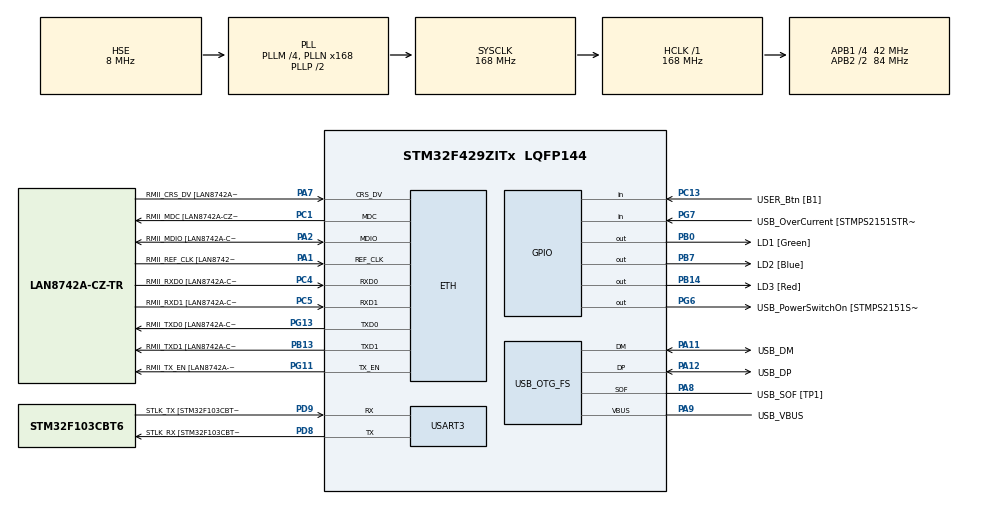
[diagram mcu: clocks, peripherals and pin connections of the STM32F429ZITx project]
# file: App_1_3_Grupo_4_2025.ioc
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ETH.MediaInterface=HAL_ETH_RMII_MODE
ETH.PHY_Name=LAN8742A_PHY_ADDRESS
ETH.PHY_Value=0
ETH.PhyAddress=0
Mcu.Family=STM32F4
Mcu.Name=STM32F429ZITx
Mcu.Package=LQFP144
NVIC.PriorityGroup=NVIC_PRIORITYGROUP_4
PA1.GPIO_Label=RMII_REF_CLK [LAN8742A-CZ-TR_REFCLK0]
PA1.Mode=RMII
PA1.Signal=ETH_REF_CLK
PA10.GPIO_Label=USB_ID
PA10.Signal=USB_OTG_FS_ID
PA11.GPIO_Label=USB_DM
PA11.Mode=Device_Only
PA11.Signal=USB_OTG_FS_DM
PA12.GPIO_Label=USB_DP
PA12.Mode=Device_Only
PA12.Signal=USB_OTG_FS_DP
PA13.GPIO_Label=TMS
PA13.Mode=Serial_Wire
PA13.Signal=SYS_JTMS-SWDIO
PA14.GPIO_Label=TCK
PA14.Mode=Serial_Wire
PA14.Signal=SYS_JTCK-SWCLK
PA2.GPIO_Label=RMII_MDIO [LAN8742A-CZ-TR_MDIO]
PA2.Mode=RMII
PA2.Signal=ETH_MDIO
PA7.GPIO_Label=RMII_CRS_DV [LAN8742A-CZ-TR_CRS_DV]
PA7.Mode=RMII
PA7.Signal=ETH_CRS_DV
PA8.GPIO_Label=USB_SOF [TP1]
PA8.Mode=Activate_SOF_FS
PA8.Signal=USB_OTG_FS_SOF
PA9.GPIO_Label=USB_VBUS
PA9.Mode=Activate_VBUS
PA9.Signal=USB_OTG_FS_VBUS
PB0.GPIO_Label=LD1 [Green]
PB0.Signal=GPIO_Output
PB13.GPIO_Label=RMII_TXD1 [LAN8742A-CZ-TR_TXD1]
PB13.Mode=RMII
PB13.Signal=ETH_TXD1
PB14.GPIO_Label=LD3 [Red]
PB14.Signal=GPIO_Output
PB7.GPIO_Label=LD2 [Blue]
PB7.Signal=GPIO_Output
PC1.GPIO_Label=RMII_MDC [LAN8742A-CZ-TR_MDC]
PC1.Mode=RMII
PC1.Signal=ETH_MDC
PC13.GPIO_Label=USER_Btn [B1]
PC13.GPIO_PuPd=GPIO_NOPULL
PC13.Signal=GPIO_Input
PC14/OSC32_IN.Mode=LSE-External-Oscillator
PC14/OSC32_IN.Signal=RCC_OSC32_IN
PC15/OSC32_OUT.Mode=LSE-External-Oscillator
PC15/OSC32_OUT.Signal=RCC_OSC32_OUT
PC4.GPIO_Label=RMII_RXD0 [LAN8742A-CZ-TR_RXD0]
PC4.Mode=RMII
PC4.Signal=ETH_RXD0
PC5.GPIO_Label=RMII_RXD1 [LAN8742A-CZ-TR_RXD1]
PC5.Mode=RMII
PC5.Signal=ETH_RXD1
PD8.GPIO_Label=STLK_RX [STM32F103CBT6_PA3]
PD8.Mode=Asynchronous
PD8.Signal=USART3_TX
PD9.GPIO_Label=STLK_TX [STM32F103CBT6_PA2]
PD9.Mode=Asynchronous
PD9.Signal=USART3_RX
PG11.GPIO_Label=RMII_TX_EN [LAN8742A-CZ-TR_TXEN]
PG11.Mode=RMII
PG11.Signal=ETH_TX_EN
PG13.GPIO_Label=RMII_TXD0 [LAN8742A-CZ-TR_TXD0]
PG13.Mode=RMII
PG13.Signal=ETH_TXD0
PG6.GPIO_Label=USB_PowerSwitchOn [STMPS2151STR_EN]
PG6.Signal=GPIO_Output
PG7.GPIO_Label=USB_OverCurrent [STMPS2151STR_FAULT]
PG7.Signal=GPIO_Input
PH0/OSC_IN.GPIO_Label=MCO [STM32F103CBT6_PA8]
PH0/OSC_IN.Mode=HSE-External-Clock-Source
PH0/OSC_IN.Signal=RCC_OSC_IN
PH1/OSC_OUT.Mode=HSE-External-Clock-Source
PH1/OSC_OUT.Signal=RCC_OSC_OUT
ProjectManager.HeapSize=0x200
ProjectManager.StackSize=0x400
ProjectManager.TargetToolchain=STM32CubeIDE
RCC.48MHZClocksFreq_Value=48000000
RCC.AHBFreq_Value=168000000
RCC.APB1CLKDivider=RCC_HCLK_DIV4
RCC.APB1Freq_Value=42000000
RCC.APB1TimFreq_Value=84000000
RCC.APB2CLKDivider=RCC_HCLK_DIV2
RCC.APB2Freq_Value=84000000
RCC.APB2TimCLKDivider=2
RCC.APB2TimFreq_Value=168000000
RCC.CortexFreq_Value=168000000
RCC.HCLKFreq_Value=168000000
RCC.HSE_VALUE=8000000
RCC.HSI_VALUE=16000000
RCC.PLLM=4
RCC.PLLMUL=RCC_PLL_MUL9
RCC.PLLN=168
RCC.PLLQ=7
RCC.PRESCALERUSB=RCC_USBCLKSOURCE_PLL_DIV1_5
RCC.SYSCLKFreq_VALUE=168000000
RCC.SYSCLKSource=RCC_SYSCLKSOURCE_PLLCLK
RCC.SYSCLKSourceVirtual=RCC_SYSCLKSOURCE_PLLCLK
RCC.USBFreq_Value=48000000
RCC.VCOOutputFreq_Value=336000000
USART3.VirtualMode=VM_ASYNC
USB_OTG_FS.VirtualMode=Device_Only
board=NUCLEO-F429ZI

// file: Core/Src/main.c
/* USER CODE BEGIN Header */
/**
  ******************************************************************************
  * @file           : main.c
  * @brief          : Main program body
  ******************************************************************************
  * @attention
  *
  * Copyright (c) 2025 STMicroelectronics.
  * All rights reserved.
  *
  * This software is licensed under terms that can be found in the LICENSE file
  * in the root directory of this software component.
  * If no LICENSE file comes with this software, it is provided AS-IS.
  *
  ******************************************************************************
  */
/* USER CODE END Header */
#include "main.h"
#include "string.h"
#include "API_GPIO.h"

/* USER CODE BEGIN PD */
#define LED1  ((led_t){LD1_GPIO_Port, LD1_Pin})
#define LED2  ((led_t){LD2_GPIO_Port, LD2_Pin})
#define LED3  ((led_t){LD3_GPIO_Port, LD3_Pin})
/* USER CODE END PD */

ETH_TxPacketConfig TxConfig;
ETH_DMADescTypeDef  DMARxDscrTab[ETH_RX_DESC_CNT]; /* Ethernet Rx DMA Descriptors */
ETH_DMADescTypeDef  DMATxDscrTab[ETH_TX_DESC_CNT]; /* Ethernet Tx DMA Descriptors */

ETH_HandleTypeDef heth;

UART_HandleTypeDef huart3;

PCD_HandleTypeDef hpcd_USB_OTG_FS;

/* USER CODE BEGIN PV */
// Vector de LEDs
led_t leds[] = { LED1, LED2, LED3 };
/* USER CODE END PV */

void SystemClock_Config(void);
void MX_GPIO_Init(void);        //elimino static
static void MX_ETH_Init(void);
static void MX_USART3_UART_Init(void);
static void MX_USB_OTG_FS_PCD_Init(void);

int main(void)
{

  /* MCU Configuration--------------------------------------------------------*/

  /* Reset of all peripherals, Initializes the Flash interface and the Systick. */
  HAL_Init();

  /* Configure the system clock */
  SystemClock_Config();

  /* Initialize all configured peripherals */
  MX_GPIO_Init();
  MX_ETH_Init();
  MX_USART3_UART_Init();
  MX_USB_OTG_FS_PCD_Init();
  /* USER CODE BEGIN 2 */

   int num_leds = sizeof(leds) / sizeof(leds[0]);
   int secuencia = 1;
   buttonStatus_t estadoAnterior = readButton_GPIO();

   uint32_t t1 = 0, t2 = 0, t3 = 0;

  /* USER CODE END 2 */

  /* Infinite loop */
  while (1)
  {

    /* USER CODE BEGIN 3 */

     buttonStatus_t estadoActual = readButton_GPIO();

	 if (estadoAnterior == 1 && estadoActual == 0) {
	    secuencia++;
	     if (secuencia > 4) {
	    	 secuencia = 1;
	    	 for(int i = 0; i < 3; i++){
	    		 writeLedOff_GPIO(leds[i]);
	    	 }
	     }
	      HAL_Delay(200);  // antirrebote
	    }

     estadoAnterior = estadoActual;

    switch (secuencia)
    {
      case 1:

             for (int i = 0; i < num_leds; i++) {
              toggleLed_GPIO(leds[i]);
              HAL_Delay(150);
              toggleLed_GPIO(leds[i]);
              HAL_Delay(150);
               }
           break;

      case 2:

    	  for (int i = 0; i < num_leds; i++)
    		  writeLedOn_GPIO(leds[i]);
    	      HAL_Delay(300);
    	  for (int i = 0; i < num_leds; i++)
    		  writeLedOff_GPIO(leds[i]);
    	      HAL_Delay(300);
           break;

      case 3:

           t1 += 100;
           t2 += 100;
           t3 += 100;

           if (t1 >= 100) {
        	   toggleLed_GPIO(LED1); // LED1
               t1 = 0;
              }
           if (t2 >= 300) {
        	   toggleLed_GPIO(LED2); // LED2
               t2 = 0;
              }
           if (t3 >= 600) {
        	   toggleLed_GPIO(LED3); // LED3
               t3 = 0;
              }
           HAL_Delay(100);
           break;

        case 4:

        	   writeLedOn_GPIO(LED1);    // LED1
        	   writeLedOn_GPIO(LED3);    // LED3
        	   writeLedOff_GPIO(LED2);   // LED2
               HAL_Delay(150);

               writeLedOff_GPIO(LED1);   // LED1
               writeLedOff_GPIO(LED3);   // LED3
               writeLedOn_GPIO(LED2);    // LED2
               HAL_Delay(150);
             break;
    }
  }
  /* USER CODE END 3 */
}

void SystemClock_Config(void)
{
  RCC_OscInitTypeDef RCC_OscInitStruct = {0};
  RCC_ClkInitTypeDef RCC_ClkInitStruct = {0};

  /** Configure the main internal regulator output voltage
  */
  __HAL_RCC_PWR_CLK_ENABLE();
  __HAL_PWR_VOLTAGESCALING_CONFIG(PWR_REGULATOR_VOLTAGE_SCALE1);

  /** Initializes the RCC Oscillators according to the specified parameters
  * in the RCC_OscInitTypeDef structure.
  */
  RCC_OscInitStruct.OscillatorType = RCC_OSCILLATORTYPE_HSE;
  RCC_OscInitStruct.HSEState = RCC_HSE_BYPASS;
  RCC_OscInitStruct.PLL.PLLState = RCC_PLL_ON;
  RCC_OscInitStruct.PLL.PLLSource = RCC_PLLSOURCE_HSE;
  RCC_OscInitStruct.PLL.PLLM = 4;
  RCC_OscInitStruct.PLL.PLLN = 168;
  RCC_OscInitStruct.PLL.PLLP = RCC_PLLP_DIV2;
  RCC_OscInitStruct.PLL.PLLQ = 7;
  if (HAL_RCC_OscConfig(&RCC_OscInitStruct) != HAL_OK)
  {
    Error_Handler();
  }

  /** Initializes the CPU, AHB and APB buses clocks
  */
  RCC_ClkInitStruct.ClockType = RCC_CLOCKTYPE_HCLK|RCC_CLOCKTYPE_SYSCLK
                              |RCC_CLOCKTYPE_PCLK1|RCC_CLOCKTYPE_PCLK2;
  RCC_ClkInitStruct.SYSCLKSource = RCC_SYSCLKSOURCE_PLLCLK;
  RCC_ClkInitStruct.AHBCLKDivider = RCC_SYSCLK_DIV1;
  RCC_ClkInitStruct.APB1CLKDivider = RCC_HCLK_DIV4;
  RCC_ClkInitStruct.APB2CLKDivider = RCC_HCLK_DIV2;

  if (HAL_RCC_ClockConfig(&RCC_ClkInitStruct, FLASH_LATENCY_5) != HAL_OK)
  {
    Error_Handler();
  }
}

static void MX_ETH_Init(void)
{

   static uint8_t MACAddr[6];

  heth.Instance = ETH;
  MACAddr[0] = 0x00;
  MACAddr[1] = 0x80;
  MACAddr[2] = 0xE1;
  MACAddr[3] = 0x00;
  MACAddr[4] = 0x00;
  MACAddr[5] = 0x00;
  heth.Init.MACAddr = &MACAddr[0];
  heth.Init.MediaInterface = HAL_ETH_RMII_MODE;
  heth.Init.TxDesc = DMATxDscrTab;
  heth.Init.RxDesc = DMARxDscrTab;
  heth.Init.RxBuffLen = 1524;

  if (HAL_ETH_Init(&heth) != HAL_OK)
  {
    Error_Handler();
  }

  memset(&TxConfig, 0 , sizeof(ETH_TxPacketConfig));
  TxConfig.Attributes = ETH_TX_PACKETS_FEATURES_CSUM | ETH_TX_PACKETS_FEATURES_CRCPAD;
  TxConfig.ChecksumCtrl = ETH_CHECKSUM_IPHDR_PAYLOAD_INSERT_PHDR_CALC;
  TxConfig.CRCPadCtrl = ETH_CRC_PAD_INSERT;

}

static void MX_USART3_UART_Init(void)
{

  huart3.Instance = USART3;
  huart3.Init.BaudRate = 115200;
  huart3.Init.WordLength = UART_WORDLENGTH_8B;
  huart3.Init.StopBits = UART_STOPBITS_1;
  huart3.Init.Parity = UART_PARITY_NONE;
  huart3.Init.Mode = UART_MODE_TX_RX;
  huart3.Init.HwFlowCtl = UART_HWCONTROL_NONE;
  huart3.Init.OverSampling = UART_OVERSAMPLING_16;
  if (HAL_UART_Init(&huart3) != HAL_OK)
  {
    Error_Handler();
  }

}

static void MX_USB_OTG_FS_PCD_Init(void)
{

  hpcd_USB_OTG_FS.Instance = USB_OTG_FS;
  hpcd_USB_OTG_FS.Init.dev_endpoints = 4;
  hpcd_USB_OTG_FS.Init.speed = PCD_SPEED_FULL;
  hpcd_USB_OTG_FS.Init.dma_enable = DISABLE;
  hpcd_USB_OTG_FS.Init.phy_itface = PCD_PHY_EMBEDDED;
  hpcd_USB_OTG_FS.Init.Sof_enable = ENABLE;
  hpcd_USB_OTG_FS.Init.low_power_enable = DISABLE;
  hpcd_USB_OTG_FS.Init.lpm_enable = DISABLE;
  hpcd_USB_OTG_FS.Init.vbus_sensing_enable = ENABLE;
  hpcd_USB_OTG_FS.Init.use_dedicated_ep1 = DISABLE;
  if (HAL_PCD_Init(&hpcd_USB_OTG_FS) != HAL_OK)
  {
    Error_Handler();
  }

}

void Error_Handler(void)
{
  __disable_irq();
  while (1)
  {
  }
}
